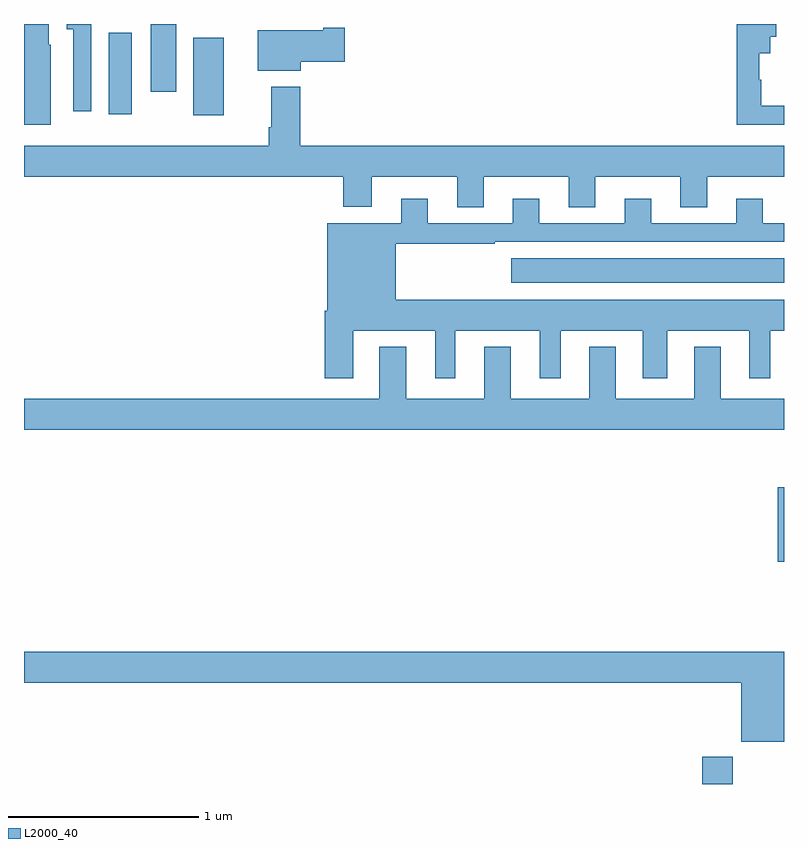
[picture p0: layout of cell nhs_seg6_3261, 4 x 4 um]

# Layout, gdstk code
import gdstk
lib = gdstk.Library(unit=1e-6, precision=1e-09)
def R(c, l, rs):  # rectangles x0, y0, x1, y1
    for r in rs: c.add(gdstk.rectangle(r[:2], r[2:], *l))
def P(c, l, *ps):  # polygons
    for p in ps: c.add(gdstk.Polygon(p, *l))
L2000_40 = (2000, 40)

nhs_seg6_3261 = lib.new_cell('nhs_seg6_3261')
R(nhs_seg6_3261, L2000_40, [(306.569,917.5,306.729,917.644), (306.968,918.669,307,919.063), (305.565,920.138,307,920.266), (303.89,921.021,304.051,921.427), (303.446,921.024,303.568,921.454), (303.668,921.144,303.802,921.5)])
P(nhs_seg6_3261, L2000_40, [(307,921.071),(306.88,921.071),(306.88,921.207),(306.869,921.207),(306.869,921.347),(306.928,921.347),(306.928,921.434),(306.958,921.434),(306.958,921.5),(306.751,921.5),(306.751,920.97),(307,920.97)],
  [(303.142,921.39),(303.13,921.39),(303.13,921.5),(303,921.5),(303,920.97),(303.142,920.97)],
  [(303.354,921.5),(303.224,921.5),(303.224,921.473),(303.258,921.473),(303.258,921.042),(303.354,921.042)],
  [(304.456,921.301),(304.687,921.301),(304.687,921.479),(304.574,921.479),(304.574,921.466),(304.229,921.466),(304.229,921.254),(304.456,921.254)],
  [(305.419,920.696),(305.867,920.696),(305.867,920.536),(306.007,920.536),(306.007,920.696),(306.455,920.696),(306.455,920.536),(306.595,920.536),(306.595,920.696),(307,920.696),(307,920.86),(304.454,920.86),(304.454,921.169),(304.301,921.169),(304.301,920.956),(304.289,920.956),(304.289,920.86),(303,920.86),(303,920.696),(304.679,920.696),(304.679,920.537),(304.831,920.537),(304.831,920.696),(305.279,920.696),(305.279,920.536),(305.419,920.536)],
  [(304.732,919.886),(305.165,919.886),(305.165,919.635),(305.269,919.635),(305.269,919.886),(305.714,919.886),(305.714,919.635),(305.824,919.635),(305.824,919.886),(306.257,919.886),(306.257,919.635),(306.385,919.635),(306.385,919.886),(306.818,919.886),(306.818,919.635),(306.928,919.635),(306.928,919.886),(307,919.886),(307,920.05),(304.957,920.05),(304.957,920.343),(305.477,920.343),(305.477,920.355),(307,920.355),(307,920.451),(306.889,920.451),(306.889,920.581),(306.749,920.581),(306.749,920.451),(306.301,920.451),(306.301,920.581),(306.161,920.581),(306.161,920.451),(305.713,920.451),(305.713,920.581),(305.573,920.581),(305.573,920.451),(305.125,920.451),(305.125,920.581),(304.985,920.581),(304.985,920.452),(304.595,920.452),(304.595,919.99),(304.583,919.99),(304.583,919.635),(304.732,919.635)],
  [(307,919.528),(306.667,919.528),(306.667,919.801),(306.527,919.801),(306.527,919.528),(306.115,919.528),(306.115,919.801),(305.975,919.801),(305.975,919.528),(305.563,919.528),(305.563,919.801),(305.423,919.801),(305.423,919.528),(305.011,919.528),(305.011,919.801),(304.871,919.801),(304.871,919.528),(303,919.528),(303,919.364),(307,919.364)],
  [(307,918.196),(303,918.196),(303,918.032),(306.776,918.032),(306.776,917.723),(307,917.723)])

lib.write_gds('nhs_seg6_3261.gds')
